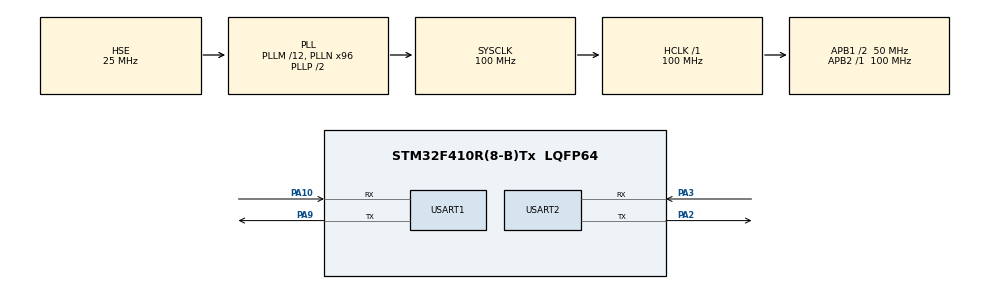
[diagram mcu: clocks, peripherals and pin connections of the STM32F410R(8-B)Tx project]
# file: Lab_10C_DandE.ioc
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Mcu.Family=STM32F4
Mcu.Name=STM32F410R(8-B)Tx
Mcu.Package=LQFP64
NVIC.PriorityGroup=NVIC_PRIORITYGROUP_4
PA10.Mode=Asynchronous
PA10.Signal=USART1_RX
PA13.Mode=Serial_Wire
PA13.Signal=SYS_JTMS-SWDIO
PA14.Mode=Serial_Wire
PA14.Signal=SYS_JTCK-SWCLK
PA2.Mode=Asynchronous
PA2.Signal=USART2_TX
PA3.Mode=Asynchronous
PA3.Signal=USART2_RX
PA9.Mode=Asynchronous
PA9.Signal=USART1_TX
PH0\ -\ OSC_IN.Mode=HSE-External-Clock-Source
PH0\ -\ OSC_IN.Signal=RCC_OSC_IN
PH1\ -\ OSC_OUT.Mode=HSE-External-Clock-Source
PH1\ -\ OSC_OUT.Signal=RCC_OSC_OUT
ProjectManager.HeapSize=0x200
ProjectManager.StackSize=0x400
ProjectManager.TargetToolchain=MDK-ARM V5.32
RCC.48MHZClocksFreq_Value=50000000
RCC.AHBFreq_Value=100000000
RCC.APB1CLKDivider=RCC_HCLK_DIV2
RCC.APB1Freq_Value=50000000
RCC.APB1TimFreq_Value=100000000
RCC.APB2Freq_Value=100000000
RCC.APB2TimFreq_Value=100000000
RCC.CortexFreq_Value=100000000
RCC.HCLKFreq_Value=100000000
RCC.HSE_VALUE=25000000
RCC.HSI_VALUE=16000000
RCC.LSE_VALUE=32768
RCC.PLLM=12
RCC.PLLN=96
RCC.PLLSourceVirtual=RCC_PLLSOURCE_HSE
RCC.SYSCLKFreq_VALUE=100000000
RCC.SYSCLKSource=RCC_SYSCLKSOURCE_PLLCLK
RCC.VCOOutputFreq_Value=200000000
USART1.VirtualMode=VM_ASYNC
USART2.VirtualMode=VM_ASYNC
board=custom

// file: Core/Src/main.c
/* USER CODE BEGIN Header */
/**
  ******************************************************************************
  * @file           : main.c
  * @brief          : Main program body
  ******************************************************************************
  * @attention
  *
  * Copyright (c) 2026 STMicroelectronics.
  * All rights reserved.
  *
  * This software is licensed under terms that can be found in the LICENSE file
  * in the root directory of this software component.
  * If no LICENSE file comes with this software, it is provided AS-IS.
  *
  ******************************************************************************
  */
/* USER CODE END Header */
#include "main.h"

/* USER CODE BEGIN Includes */
#include<string.h>
#include<stdlib.h>
#include<stdio.h>

/* USER CODE END Includes */

UART_HandleTypeDef huart1;
UART_HandleTypeDef huart2;

void SystemClock_Config(void);
static void MX_GPIO_Init(void);
static void MX_USART1_UART_Init(void);
static void MX_USART2_UART_Init(void);

int main(void)
{

  /* MCU Configuration--------------------------------------------------------*/

  /* Reset of all peripherals, Initializes the Flash interface and the Systick. */
  HAL_Init();

  /* Configure the system clock */
  SystemClock_Config();

  /* Initialize all configured peripherals */
  MX_GPIO_Init();
  MX_USART1_UART_Init();
  MX_USART2_UART_Init();

  /* Infinite loop */
  /* USER CODE BEGIN WHILE */
  char cmd1[] = "AT\r\n";
	uint8_t rx_buffer[128];
	memset(rx_buffer, 0, sizeof(rx_buffer));
	HAL_UART_Transmit(&huart1, (uint8_t*)cmd1, strlen(cmd1), 1000);
	HAL_UART_Receive(&huart1, rx_buffer, sizeof(rx_buffer) - 1, 2000);
	HAL_UART_Transmit(&huart2, rx_buffer, strlen((char*)rx_buffer), 1000);
	HAL_Delay(1000);
	memset(rx_buffer, 0, sizeof(rx_buffer));
	char cmd2[] = "AT+CWMODE=1\r\n";
	HAL_UART_Transmit(&huart1, (uint8_t*)cmd2, strlen(cmd2), 1000);
	HAL_UART_Receive(&huart1, rx_buffer, sizeof(rx_buffer) - 1, 2000);
	HAL_UART_Transmit(&huart2, rx_buffer, strlen((char*)rx_buffer), 1000);

	HAL_Delay(1000);

	char cmd3[] = "AT+CWJAP=\"SNUC\",\"snu12345\"\r\n";
	memset(rx_buffer, 0, sizeof(rx_buffer));
	HAL_UART_Transmit(&huart1, (uint8_t*)cmd3, strlen(cmd3), 1000);
	HAL_UART_Receive(&huart1, rx_buffer, sizeof(rx_buffer) - 1, 20000);
	HAL_UART_Transmit(&huart2, rx_buffer, strlen((char*)rx_buffer), 1000);
	HAL_Delay(1000);

	char cmd6[] = "AT+CIFSR\r\n";
	memset(rx_buffer, 0, sizeof(rx_buffer));
	HAL_UART_Transmit(&huart1, (uint8_t*)cmd6, strlen(cmd6), 1000);
	HAL_UART_Receive(&huart1, rx_buffer, sizeof(rx_buffer) - 1, 1000);
	HAL_UART_Transmit(&huart2, rx_buffer, strlen((char*)rx_buffer), 1000);
	HAL_Delay(1000);

	char cmd7[] = "AT+CIPMUX=1\r\n";
	memset(rx_buffer, 0, sizeof(rx_buffer));
	HAL_UART_Transmit(&huart1, (uint8_t*)cmd7, strlen(cmd7), 1000);
	HAL_UART_Receive(&huart1, rx_buffer, sizeof(rx_buffer) - 1, 1000);
	HAL_UART_Transmit(&huart2, rx_buffer, strlen((char*)rx_buffer), 1000);
	HAL_Delay(1000);

	char cmd8[] = "AT+CIPSERVER=1,80\r\n";
	memset(rx_buffer, 0, sizeof(rx_buffer));
	HAL_UART_Transmit(&huart1, (uint8_t*)cmd8, strlen(cmd8), 1000);
	HAL_UART_Receive(&huart1, rx_buffer, sizeof(rx_buffer) - 1, 1000);
	HAL_UART_Transmit(&huart2, rx_buffer, strlen((char*)rx_buffer), 1000);
	HAL_Delay(1000);

	int link_id = 0;

  while (1)
  {
    /* USER CODE END WHILE */

  }
}

void SystemClock_Config(void)
{
  RCC_OscInitTypeDef RCC_OscInitStruct = {0};
  RCC_ClkInitTypeDef RCC_ClkInitStruct = {0};

  /** Configure the main internal regulator output voltage
  */
  __HAL_RCC_PWR_CLK_ENABLE();
  __HAL_PWR_VOLTAGESCALING_CONFIG(PWR_REGULATOR_VOLTAGE_SCALE1);

  /** Initializes the RCC Oscillators according to the specified parameters
  * in the RCC_OscInitTypeDef structure.
  */
  RCC_OscInitStruct.OscillatorType = RCC_OSCILLATORTYPE_HSE;
  RCC_OscInitStruct.HSEState = RCC_HSE_BYPASS;
  RCC_OscInitStruct.PLL.PLLState = RCC_PLL_ON;
  RCC_OscInitStruct.PLL.PLLSource = RCC_PLLSOURCE_HSE;
  RCC_OscInitStruct.PLL.PLLM = 12;
  RCC_OscInitStruct.PLL.PLLN = 96;
  RCC_OscInitStruct.PLL.PLLP = RCC_PLLP_DIV2;
  RCC_OscInitStruct.PLL.PLLQ = 4;
  RCC_OscInitStruct.PLL.PLLR = 2;
  if (HAL_RCC_OscConfig(&RCC_OscInitStruct) != HAL_OK)
  {
    Error_Handler();
  }

  /** Initializes the CPU, AHB and APB buses clocks
  */
  RCC_ClkInitStruct.ClockType = RCC_CLOCKTYPE_HCLK|RCC_CLOCKTYPE_SYSCLK
                              |RCC_CLOCKTYPE_PCLK1|RCC_CLOCKTYPE_PCLK2;
  RCC_ClkInitStruct.SYSCLKSource = RCC_SYSCLKSOURCE_PLLCLK;
  RCC_ClkInitStruct.AHBCLKDivider = RCC_SYSCLK_DIV1;
  RCC_ClkInitStruct.APB1CLKDivider = RCC_HCLK_DIV2;
  RCC_ClkInitStruct.APB2CLKDivider = RCC_HCLK_DIV1;

  if (HAL_RCC_ClockConfig(&RCC_ClkInitStruct, FLASH_LATENCY_3) != HAL_OK)
  {
    Error_Handler();
  }
}

static void MX_USART1_UART_Init(void)
{

  huart1.Instance = USART1;
  huart1.Init.BaudRate = 115200;
  huart1.Init.WordLength = UART_WORDLENGTH_8B;
  huart1.Init.StopBits = UART_STOPBITS_1;
  huart1.Init.Parity = UART_PARITY_NONE;
  huart1.Init.Mode = UART_MODE_TX_RX;
  huart1.Init.HwFlowCtl = UART_HWCONTROL_NONE;
  huart1.Init.OverSampling = UART_OVERSAMPLING_16;
  if (HAL_UART_Init(&huart1) != HAL_OK)
  {
    Error_Handler();
  }

}

static void MX_USART2_UART_Init(void)
{

  huart2.Instance = USART2;
  huart2.Init.BaudRate = 115200;
  huart2.Init.WordLength = UART_WORDLENGTH_8B;
  huart2.Init.StopBits = UART_STOPBITS_1;
  huart2.Init.Parity = UART_PARITY_NONE;
  huart2.Init.Mode = UART_MODE_TX_RX;
  huart2.Init.HwFlowCtl = UART_HWCONTROL_NONE;
  huart2.Init.OverSampling = UART_OVERSAMPLING_16;
  if (HAL_UART_Init(&huart2) != HAL_OK)
  {
    Error_Handler();
  }

}

static void MX_GPIO_Init(void)
{

  /* GPIO Ports Clock Enable */
  __HAL_RCC_GPIOH_CLK_ENABLE();
  __HAL_RCC_GPIOA_CLK_ENABLE();

}

void Error_Handler(void)
{
  __disable_irq();
  while (1)
  {
  }
}
